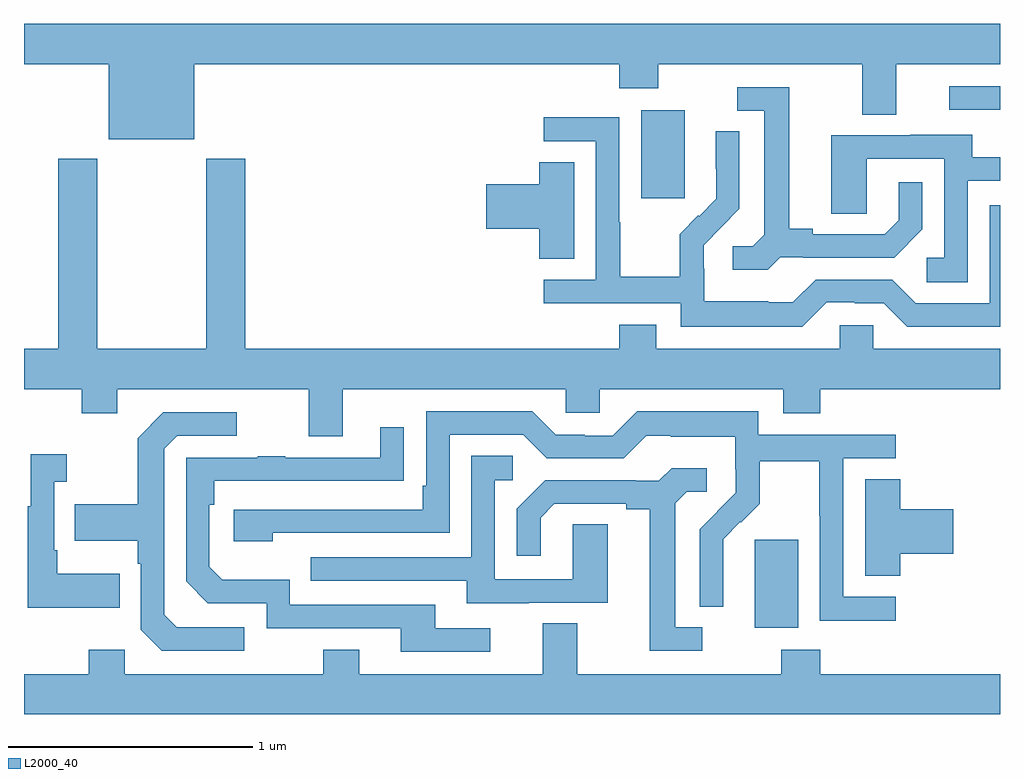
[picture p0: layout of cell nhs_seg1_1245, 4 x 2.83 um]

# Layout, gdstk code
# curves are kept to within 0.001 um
import gdstk
lib = gdstk.Library(unit=1e-6, precision=1e-09)
def R(c, l, rs):  # rectangles x0, y0, x1, y1
    for r in rs: c.add(gdstk.rectangle(r[:2], r[2:], *l))
def P(c, l, *ps):  # polygons
    for p in ps: c.add(gdstk.Polygon(p, *l))
L2000_40 = (2000, 40)

nhs_seg1_1245 = lib.new_cell('nhs_seg1_1245')
R(nhs_seg1_1245, L2000_40, [(181.994,518.786,182.173,519.147), (181.529,520.545,181.708,520.906), (182.793,520.908,183,521.004)])
P(nhs_seg1_1245, L2000_40, [(179.698,521.096),(181.439,521.096),(181.439,520.997),(181.599,520.997),(181.599,521.096),(182.435,521.096),(182.435,520.888),(182.575,520.888),(182.575,521.096),(183,521.096),(183,521.26),(179,521.26),(179,521.096),(179.348,521.096),(179.348,520.787),(179.698,520.787)],
  [(182.1,520.305),(182.194,520.305),(182.194,520.302),(182.566,520.302),(182.682,520.418),(182.682,520.612),(182.585,520.612),(182.585,520.455),(182.528,520.398),(182.233,520.398),(182.233,520.421),(182.137,520.421),(182.137,521.001),(181.923,521.001),(181.923,520.905),(182.033,520.905),(182.033,520.397),(181.986,520.35),(181.905,520.35),(181.905,520.253),(182.048,520.253)],
  [(182.289,520.119),(182.405,520.119),(182.405,520.116),(182.523,520.116),(182.619,520.02),(183,520.02),(183,520.518),(182.958,520.518),(182.958,520.116),(182.655,520.116),(182.559,520.212),(182.244,520.212),(182.151,520.119),(182.051,520.119),(182.051,520.123),(181.788,520.123),(181.788,520.257),(181.786,520.257),(181.786,520.354),(181.932,520.502),(181.932,520.82),(181.836,520.82),(181.836,520.666),(181.838,520.666),(181.838,520.544),(181.767,520.473),(181.764,520.476),(181.687,520.399),(181.687,520.225),(181.443,520.225),(181.443,520.448),(181.44,520.448),(181.44,520.878),(181.131,520.878),(181.131,520.779),(181.344,520.779),(181.344,520.212),(181.131,520.212),(181.131,520.116),(181.692,520.116),(181.692,520.019),(182.189,520.019)],
  [(182.868,520.617),(183,520.617),(183,520.713),(182.887,520.713),(182.887,520.807),(182.633,520.807),(182.633,520.803),(182.309,520.803),(182.309,520.483),(182.454,520.483),(182.454,520.707),(182.772,520.707),(182.772,520.302),(182.7,520.302),(182.7,520.201),(182.868,520.201)],
  [(180.307,519.764),(181.221,519.764),(181.221,519.666),(181.359,519.666),(181.359,519.764),(182.111,519.764),(182.111,519.665),(182.264,519.665),(182.264,519.764),(183,519.764),(183,519.928),(182.481,519.928),(182.481,520.026),(182.343,520.026),(182.343,519.928),(181.591,519.928),(181.591,520.027),(181.439,520.027),(181.439,519.928),(179.906,519.928),(179.906,520.708),(179.746,520.708),(179.746,519.928),(179.301,519.928),(179.301,520.708),(179.141,520.708),(179.141,519.928),(179,519.928),(179,519.764),(179.236,519.764),(179.236,519.665),(179.383,519.665),(179.383,519.764),(180.167,519.764),(180.167,519.57),(180.307,519.57)],
  [(181.255,520.694),(181.112,520.694),(181.112,520.604),(180.894,520.604),(180.894,520.421),(181.112,520.421),(181.112,520.297),(181.255,520.297)],
  [(182.572,518.913),(182.358,518.913),(182.358,519.48),(182.572,519.48),(182.572,519.576),(182.01,519.576),(182.01,519.673),(181.513,519.673),(181.413,519.573),(181.298,519.573),(181.298,519.576),(181.179,519.576),(181.083,519.672),(180.648,519.672),(180.648,519.367),(180.635,519.367),(180.635,519.27),(179.859,519.27),(179.859,519.14),(180.02,519.14),(180.02,519.174),(180.744,519.174),(180.744,519.576),(181.047,519.576),(181.143,519.48),(181.458,519.48),(181.551,519.573),(181.651,519.573),(181.651,519.569),(181.914,519.569),(181.914,519.435),(181.916,519.435),(181.916,519.338),(181.77,519.19),(181.77,518.872),(181.866,518.872),(181.865,519.149),(181.935,519.219),(181.938,519.216),(182.015,519.293),(182.015,519.468),(182.26,519.468),(182.26,519.244),(182.262,519.244),(182.262,518.815),(182.572,518.815)],
  [(179.902,518.787),(179.625,518.787),(179.574,518.838),(179.574,519.519),(179.628,519.573),(179.872,519.573),(179.872,519.669),(179.571,519.669),(179.466,519.563),(179.466,519.291),(179.209,519.291),(179.209,519.143),(179.466,519.143),(179.466,519.047),(179.478,519.047),(179.478,518.778),(179.565,518.691),(179.902,518.691)],
  [(180.91,518.784),(180.685,518.784),(180.685,518.88),(180.09,518.88),(180.09,518.983),(179.813,518.983),(179.76,519.036),(179.76,519.29),(179.78,519.29),(179.78,519.387),(180.557,519.388),(180.557,519.607),(180.461,519.607),(180.461,519.483),(180.071,519.483),(180.071,519.488),(179.959,519.488),(179.959,519.483),(179.664,519.483),(179.664,518.976),(179.754,518.886),(179.994,518.886),(179.994,518.784),(180.545,518.784),(180.545,518.688),(180.91,518.688)],
  [(179.393,519.007),(179.137,519.007),(179.137,519.103),(179.124,519.103),(179.124,519.383),(179.176,519.383),(179.176,519.496),(179.027,519.496),(179.027,519.283),(179.016,519.283),(179.016,518.867),(179.393,518.867)],
  [(181.069,518.889),(181.393,518.889),(181.393,519.209),(181.248,519.209),(181.248,518.985),(180.93,518.985),(180.93,519.39),(181.003,519.39),(181.003,519.491),(180.834,519.491),(180.834,519.075),(180.175,519.075),(180.175,518.979),(180.815,518.979),(180.815,518.885),(181.069,518.885)],
  [(181.78,518.787),(181.669,518.787),(181.669,519.295),(181.716,519.342),(181.798,519.342),(181.798,519.439),(181.654,519.439),(181.602,519.387),(181.508,519.387),(181.508,519.39),(181.136,519.39),(181.02,519.274),(181.02,519.081),(181.117,519.081),(181.117,519.237),(181.174,519.294),(181.469,519.294),(181.469,519.272),(181.565,519.272),(181.565,518.691),(181.78,518.691)],
  [(182.591,519.089),(182.809,519.089),(182.809,519.272),(182.591,519.272),(182.591,519.395),(182.447,519.395),(182.447,518.998),(182.591,518.998)],
  [(183,518.596),(182.264,518.596),(182.264,518.695),(182.104,518.695),(182.104,518.596),(181.267,518.596),(181.267,518.804),(181.127,518.804),(181.127,518.596),(180.373,518.596),(180.373,518.695),(180.226,518.695),(180.226,518.596),(179.412,518.596),(179.412,518.695),(179.266,518.695),(179.266,518.596),(179,518.596),(179,518.432),(183,518.432)])

lib.write_gds('nhs_seg1_1245.gds')
